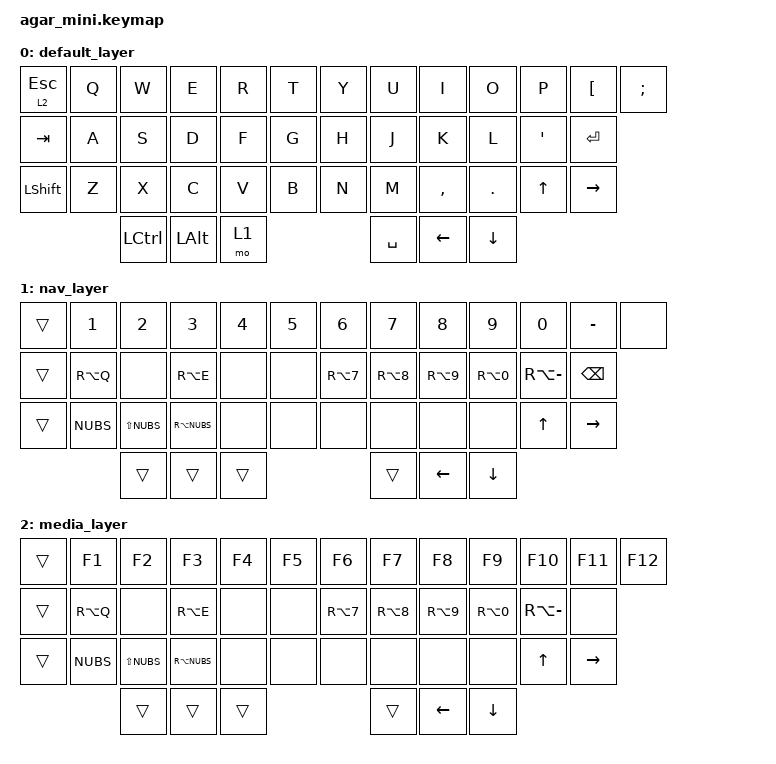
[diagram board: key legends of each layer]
#include <behaviors.dtsi>
#include <dt-bindings/zmk/keys.h>
#include <dt-bindings/zmk/bt.h>

/ {
    keymap {
        compatible = "zmk,keymap";

        // Layer 0: Basis QWERTZ
        default_layer {
            bindings = <
&lt 2 ESC  &kp Q  &kp W  &kp E  &kp R  &kp T  &kp Y  &kp U  &kp I      &kp O    &kp P     &kp LBKT   &kp SEMI
&kp TAB    &kp A  &kp S  &kp D  &kp F  &kp G  &kp H  &kp J  &kp K      &kp L    &kp SQT   &kp RET
&kp LSHFT  &kp Z  &kp X  &kp C  &kp V  &kp B  &kp N  &kp M  &kp COMMA  &kp DOT  &kp UP    &kp RIGHT
                  &kp LCTRL  &kp LALT  &mo 1         &kp SPACE  &kp LEFT  &kp DOWN
            >;
        };

        // Layer 1: Zahlen, Symbole & Backspace (Fn halten)
        nav_layer {
            bindings = <
&trans     &kp N1     &kp N2     &kp N3       &kp N4     &kp N5     &kp N6     &kp N7     &kp N8     &kp N9     &kp N0        &kp MINUS   &none
&trans     &kp RA(Q)  &none      &kp RA(E)    &none      &none      &kp RA(N7) &kp RA(N8) &kp RA(N9) &kp RA(N0) &kp RA(MINUS) &kp BSPC
&trans     &kp NUBS   &kp LS(NUBS) &kp RA(NUBS) &none    &none      &none      &none      &none      &none      &kp UP        &kp RIGHT
                      &trans     &trans       &trans                &trans     &kp LEFT   &kp DOWN
            >;
        };

        // Layer 2: F-Tasten & Symbole (Esc halten)
        media_layer {
            bindings = <
&trans     &kp F1     &kp F2     &kp F3       &kp F4     &kp F5     &kp F6     &kp F7     &kp F8     &kp F9     &kp F10       &kp F11     &kp F12
&trans     &kp RA(Q)  &none      &kp RA(E)    &none      &none      &kp RA(N7) &kp RA(N8) &kp RA(N9) &kp RA(N0) &kp RA(MINUS) &none
&trans     &kp NUBS   &kp LS(NUBS) &kp RA(NUBS) &none    &none      &none      &none      &none      &none      &kp UP        &kp RIGHT
                      &trans     &trans       &trans                &trans     &kp LEFT   &kp DOWN
            >;
        };
    };
};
